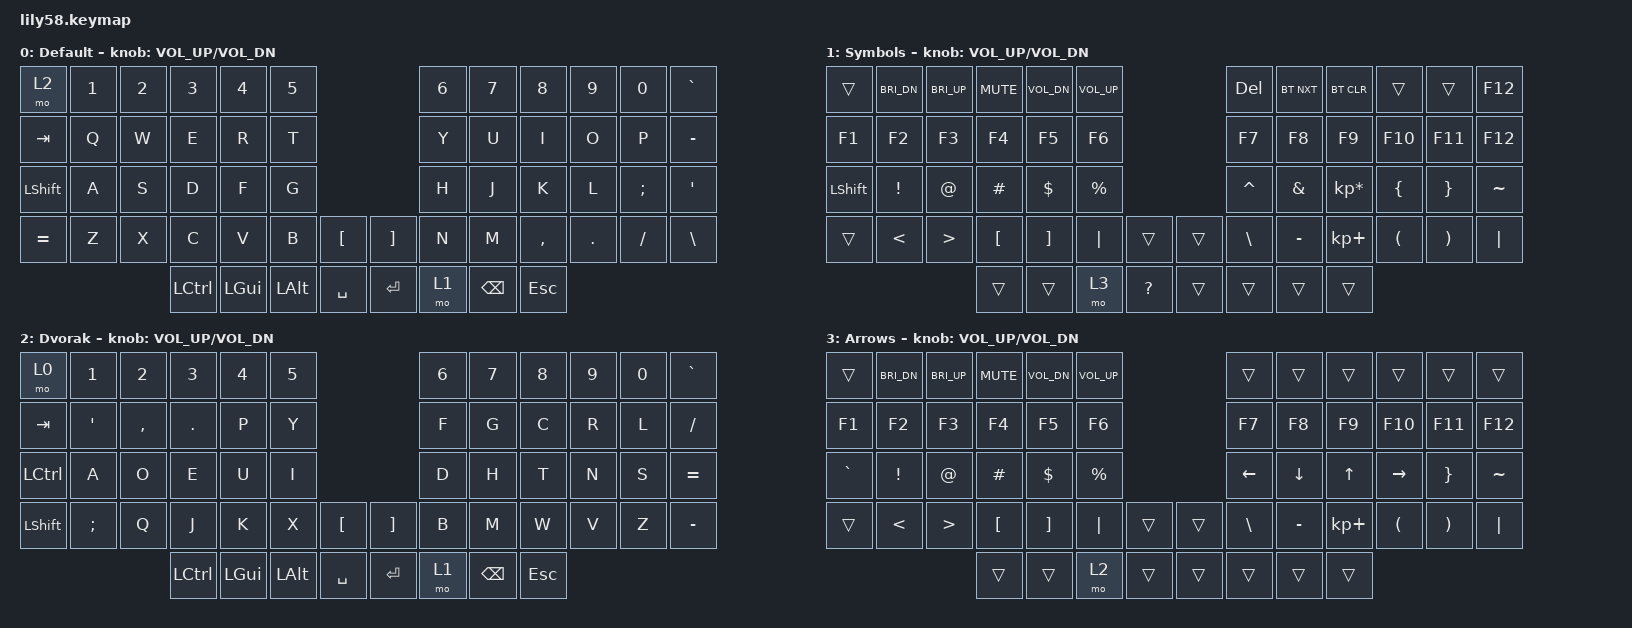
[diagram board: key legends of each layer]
/*
 * Copyright (c) 2020 The ZMK Contributors
 *
 * SPDX-License-Identifier: MIT
 */

#include <behaviors.dtsi>
#include <dt-bindings/zmk/bt.h>
#include <dt-bindings/zmk/keys.h>

/ {
    keymap {
        compatible = "zmk,keymap";

        Default {
            // ------------------------------------------------------------------------------------------------------------
            // |  ESC  |  1  |  2  |  3   |  4   |  5   |                   |  6   |  7    |  8    |  9   |   0   |   `   |
            // |  TAB  |  Q  |  W  |  E   |  R   |  T   |                   |  Y   |  U    |  I    |  O   |   P   |   -   |
            // |  CTRL |  A  |  S  |  D   |  F   |  G   |                   |  H   |  J    |  K    |  L   |   ;   |   '   |
            // | SHIFT |  Z  |  X  |  C   |  V   |  B   |   "["  |  |  "]"  |  N   |  M    |  ,    |  .   |   /   | SHIFT |
            //                     | ALT  | GUI  | LOWER|  SPACE |  | ENTER | RAISE| BSPC  | GUI   |

            bindings = <
&mo 2           &kp N1  &kp N2  &kp N3     &kp N4    &kp N5                           &kp N6  &kp N7    &kp N8      &kp N9   &kp N0    &kp GRAVE
&kp TAB         &kp Q   &kp W   &kp E      &kp R     &kp T                            &kp Y   &kp U     &kp I       &kp O    &kp P     &kp MINUS
&kp LEFT_SHIFT  &kp A   &kp S   &kp D      &kp F     &kp G                            &kp H   &kp J     &kp K       &kp L    &kp SEMI  &kp SQT
&kp EQUAL       &kp Z   &kp X   &kp C      &kp V     &kp B     &kp LBKT     &kp RBKT  &kp N   &kp M     &kp COMMA   &kp DOT  &kp FSLH  &kp BACKSLASH
                                &kp LCTRL  &kp LGUI  &kp LALT  &kp SPACE    &kp RET   &mo 1   &kp BSPC  &kp ESCAPE
            >;

            sensor-bindings = <&inc_dec_kp C_VOL_UP C_VOL_DN>;
        };

        Symbols {
            // --------------------------------------------------------------------------------------------------------------
            // | LPAD  | BRDn | BRUp |  MUT |  Vo- |  Vo+ |                   |      |       |       |      |       |       |
            // |  F1   |  F2  |  F3  |  F4  |  F5  |  F6  |                   |  F7  |  F8   |  F9   |  F10 |  F11  |  F12  |
            // |   `   |  !   |  @   |  #   |  $   |  %   |                   |  ^   |  &    |  *    |  (   |   )   |   ~   |
            // |       |      |      |      |      |      |        |  |       |      |  _    |  +    |  {   |   }   |  "|"  |
            //                       |      |      |      |        |  |       |      |       |       |

            bindings = <
&trans          &kp C_BRI_DN   &kp C_BRI_UP      &kp C_MUTE        &kp C_VOL_DN       &kp C_VOL_UP                          &kp DELETE     &bt BT_NXT  &bt BT_CLR       &trans                &trans                 &kp F12
&kp F1          &kp F2         &kp F3            &kp F4            &kp F5             &kp F6                                &kp F7         &kp F8      &kp F9           &kp F10               &kp F11                &kp F12
&kp LEFT_SHIFT  &kp EXCL       &kp AT            &kp HASH          &kp DOLLAR         &kp PRCNT                             &kp CARET      &kp AMPS    &kp KP_MULTIPLY  &kp LEFT_BRACE        &kp RIGHT_BRACE        &kp TILDE
&trans          &kp LESS_THAN  &kp GREATER_THAN  &kp LEFT_BRACKET  &kp RIGHT_BRACKET  &kp PIPE      &trans          &trans  &kp BACKSLASH  &kp MINUS   &kp KP_PLUS      &kp LEFT_PARENTHESIS  &kp RIGHT_PARENTHESIS  &kp PIPE
                                                 &trans            &trans             &mo 3         &kp QUESTION    &trans  &trans         &trans      &trans
            >;

            sensor-bindings = <&inc_dec_kp C_VOL_UP C_VOL_DN>;
        };

        Dvorak {
            bindings = <
&mo 0      &kp N1    &kp N2     &kp N3     &kp N4    &kp N5                           &kp N6  &kp N7    &kp N8      &kp N9  &kp N0  &kp GRAVE
&kp TAB    &kp APOS  &kp COMMA  &kp DOT    &kp P     &kp Y                            &kp F   &kp G     &kp C       &kp R   &kp L   &kp FSLH
&kp LCTRL  &kp A     &kp O      &kp E      &kp U     &kp I                            &kp D   &kp H     &kp T       &kp N   &kp S   &kp EQUAL
&kp LSHFT  &kp SEMI  &kp Q      &kp J      &kp K     &kp X     &kp LBKT     &kp RBKT  &kp B   &kp M     &kp W       &kp V   &kp Z   &kp MINUS
                                &kp LCTRL  &kp LGUI  &kp LALT  &kp SPACE    &kp RET   &mo 1   &kp BSPC  &kp ESCAPE
            >;

            sensor-bindings = <&inc_dec_kp C_VOL_UP C_VOL_DN>;
        };

        Arrows {
            bindings = <
&trans     &kp C_BRI_DN   &kp C_BRI_UP      &kp C_MUTE        &kp C_VOL_DN       &kp C_VOL_UP                    &trans          &trans          &trans        &trans                &trans                 &trans
&kp F1     &kp F2         &kp F3            &kp F4            &kp F5             &kp F6                          &kp F7          &kp F8          &kp F9        &kp F10               &kp F11                &kp F12
&kp GRAVE  &kp EXCL       &kp AT            &kp HASH          &kp DOLLAR         &kp PRCNT                       &kp LEFT_ARROW  &kp DOWN_ARROW  &kp UP_ARROW  &kp RIGHT_ARROW       &kp RIGHT_BRACE        &kp TILDE
&trans     &kp LESS_THAN  &kp GREATER_THAN  &kp LEFT_BRACKET  &kp RIGHT_BRACKET  &kp PIPE      &trans    &trans  &kp BACKSLASH   &kp MINUS       &kp KP_PLUS   &kp LEFT_PARENTHESIS  &kp RIGHT_PARENTHESIS  &kp PIPE
                                            &trans            &trans             &mo 2         &trans    &trans  &trans          &trans          &trans
            >;

            sensor-bindings = <&inc_dec_kp C_VOL_UP C_VOL_DN>;
        };
    };
};
